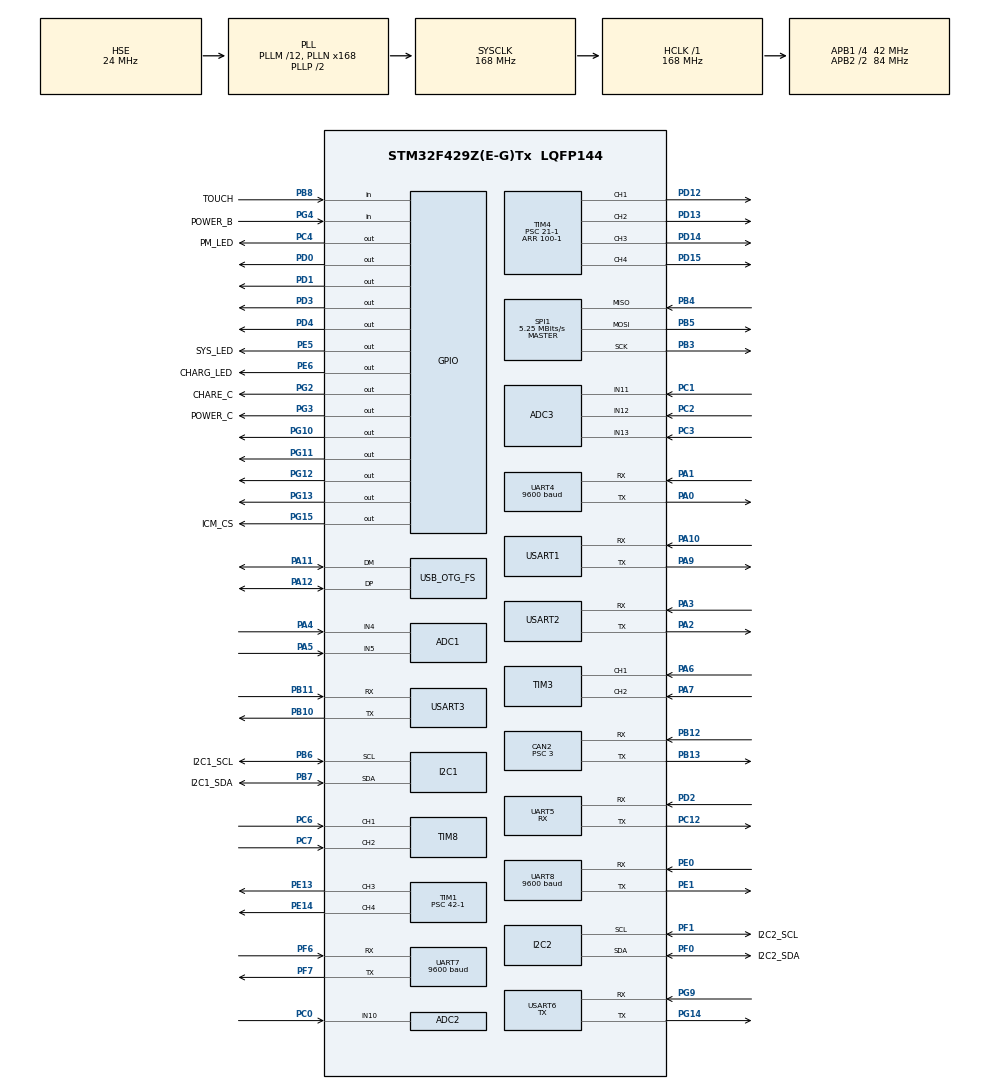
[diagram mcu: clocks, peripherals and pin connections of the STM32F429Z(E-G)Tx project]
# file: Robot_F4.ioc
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ADC1.Channel-3\#ChannelRegularConversion=ADC_CHANNEL_4
ADC1.Channel-4\#ChannelRegularConversion=ADC_CHANNEL_5
ADC1.ClockPrescaler=ADC_CLOCK_SYNC_PCLK_DIV4
ADC1.NbrOfConversion=2
ADC1.NbrOfConversionFlag=1
ADC1.Rank-3\#ChannelRegularConversion=1
ADC1.Rank-4\#ChannelRegularConversion=2
ADC1.SamplingTime-3\#ChannelRegularConversion=ADC_SAMPLETIME_480CYCLES
ADC1.SamplingTime-4\#ChannelRegularConversion=ADC_SAMPLETIME_480CYCLES
ADC1.master=1
ADC2.Channel-0\#ChannelRegularConversion=ADC_CHANNEL_10
ADC2.ClockPrescaler=ADC_CLOCK_SYNC_PCLK_DIV4
ADC2.NbrOfConversionFlag=1
ADC2.Rank-0\#ChannelRegularConversion=1
ADC2.SamplingTime-0\#ChannelRegularConversion=ADC_SAMPLETIME_480CYCLES
ADC3.Channel-0\#ChannelRegularConversion=ADC_CHANNEL_11
ADC3.Channel-1\#ChannelRegularConversion=ADC_CHANNEL_12
ADC3.Channel-2\#ChannelRegularConversion=ADC_CHANNEL_13
ADC3.ClockPrescaler=ADC_CLOCK_SYNC_PCLK_DIV4
ADC3.NbrOfConversion=3
ADC3.NbrOfConversionFlag=1
ADC3.Rank-0\#ChannelRegularConversion=1
ADC3.Rank-1\#ChannelRegularConversion=2
ADC3.Rank-2\#ChannelRegularConversion=3
ADC3.SamplingTime-0\#ChannelRegularConversion=ADC_SAMPLETIME_480CYCLES
ADC3.SamplingTime-1\#ChannelRegularConversion=ADC_SAMPLETIME_480CYCLES
ADC3.SamplingTime-2\#ChannelRegularConversion=ADC_SAMPLETIME_480CYCLES
CAN2.BS1=CAN_BS1_9TQ
CAN2.BS2=CAN_BS2_4TQ
CAN2.CalculateBaudRate=1000000
CAN2.CalculateTimeBit=1000
CAN2.CalculateTimeQuantum=71.42857142857143
CAN2.Prescaler=3
Dma.ADC1.0.Direction=DMA_PERIPH_TO_MEMORY
Dma.ADC1.0.FIFOMode=DMA_FIFOMODE_DISABLE
Dma.ADC1.0.Instance=DMA2_Stream0
Dma.ADC1.0.MemDataAlignment=DMA_MDATAALIGN_HALFWORD
Dma.ADC1.0.MemInc=DMA_MINC_ENABLE
Dma.ADC1.0.Mode=DMA_CIRCULAR
Dma.ADC1.0.PeriphDataAlignment=DMA_PDATAALIGN_HALFWORD
Dma.ADC1.0.PeriphInc=DMA_PINC_DISABLE
Dma.ADC1.0.Priority=DMA_PRIORITY_LOW
Dma.ADC2.8.Direction=DMA_PERIPH_TO_MEMORY
Dma.ADC2.8.FIFOMode=DMA_FIFOMODE_DISABLE
Dma.ADC2.8.Instance=DMA2_Stream2
Dma.ADC2.8.MemDataAlignment=DMA_MDATAALIGN_HALFWORD
Dma.ADC2.8.MemInc=DMA_MINC_ENABLE
Dma.ADC2.8.Mode=DMA_NORMAL
Dma.ADC2.8.PeriphDataAlignment=DMA_PDATAALIGN_HALFWORD
Dma.ADC2.8.PeriphInc=DMA_PINC_DISABLE
Dma.ADC2.8.Priority=DMA_PRIORITY_LOW
Dma.ADC3.9.Direction=DMA_PERIPH_TO_MEMORY
Dma.ADC3.9.FIFOMode=DMA_FIFOMODE_DISABLE
Dma.ADC3.9.Instance=DMA2_Stream1
Dma.ADC3.9.MemDataAlignment=DMA_MDATAALIGN_HALFWORD
Dma.ADC3.9.MemInc=DMA_MINC_ENABLE
Dma.ADC3.9.Mode=DMA_CIRCULAR
Dma.ADC3.9.PeriphDataAlignment=DMA_PDATAALIGN_HALFWORD
Dma.ADC3.9.PeriphInc=DMA_PINC_DISABLE
Dma.ADC3.9.Priority=DMA_PRIORITY_LOW
Dma.Request0=ADC1
Dma.Request1=UART4_RX
Dma.Request10=USART3_TX
Dma.Request11=USART1_RX
Dma.Request12=USART3_RX
Dma.Request2=UART7_RX
Dma.Request3=UART8_RX
Dma.Request4=USART2_RX
Dma.Request5=USART1_TX
Dma.Request6=USART6_TX
Dma.Request7=UART5_RX
Dma.Request8=ADC2
Dma.Request9=ADC3
Dma.UART4_RX.1.Direction=DMA_PERIPH_TO_MEMORY
Dma.UART4_RX.1.FIFOMode=DMA_FIFOMODE_DISABLE
Dma.UART4_RX.1.Instance=DMA1_Stream2
Dma.UART4_RX.1.MemDataAlignment=DMA_MDATAALIGN_BYTE
Dma.UART4_RX.1.MemInc=DMA_MINC_ENABLE
Dma.UART4_RX.1.Mode=DMA_NORMAL
Dma.UART4_RX.1.PeriphDataAlignment=DMA_PDATAALIGN_BYTE
Dma.UART4_RX.1.PeriphInc=DMA_PINC_DISABLE
Dma.UART4_RX.1.Priority=DMA_PRIORITY_LOW
Dma.UART5_RX.7.Direction=DMA_PERIPH_TO_MEMORY
Dma.UART5_RX.7.FIFOMode=DMA_FIFOMODE_DISABLE
Dma.UART5_RX.7.Instance=DMA1_Stream0
Dma.UART5_RX.7.MemDataAlignment=DMA_MDATAALIGN_BYTE
Dma.UART5_RX.7.MemInc=DMA_MINC_ENABLE
Dma.UART5_RX.7.Mode=DMA_NORMAL
Dma.UART5_RX.7.PeriphDataAlignment=DMA_PDATAALIGN_BYTE
Dma.UART5_RX.7.PeriphInc=DMA_PINC_DISABLE
Dma.UART5_RX.7.Priority=DMA_PRIORITY_LOW
Dma.UART7_RX.2.Direction=DMA_PERIPH_TO_MEMORY
Dma.UART7_RX.2.FIFOMode=DMA_FIFOMODE_DISABLE
Dma.UART7_RX.2.Instance=DMA1_Stream3
Dma.UART7_RX.2.MemDataAlignment=DMA_MDATAALIGN_BYTE
Dma.UART7_RX.2.MemInc=DMA_MINC_ENABLE
Dma.UART7_RX.2.Mode=DMA_NORMAL
Dma.UART7_RX.2.PeriphDataAlignment=DMA_PDATAALIGN_BYTE
Dma.UART7_RX.2.PeriphInc=DMA_PINC_DISABLE
Dma.UART7_RX.2.Priority=DMA_PRIORITY_LOW
Dma.UART8_RX.3.Direction=DMA_PERIPH_TO_MEMORY
Dma.UART8_RX.3.FIFOMode=DMA_FIFOMODE_DISABLE
Dma.UART8_RX.3.Instance=DMA1_Stream6
Dma.UART8_RX.3.MemDataAlignment=DMA_MDATAALIGN_BYTE
Dma.UART8_RX.3.MemInc=DMA_MINC_ENABLE
Dma.UART8_RX.3.Mode=DMA_NORMAL
Dma.UART8_RX.3.PeriphDataAlignment=DMA_PDATAALIGN_BYTE
Dma.UART8_RX.3.PeriphInc=DMA_PINC_DISABLE
Dma.UART8_RX.3.Priority=DMA_PRIORITY_LOW
Dma.USART1_RX.11.Direction=DMA_PERIPH_TO_MEMORY
Dma.USART1_RX.11.FIFOMode=DMA_FIFOMODE_DISABLE
Dma.USART1_RX.11.Instance=DMA2_Stream5
Dma.USART1_RX.11.MemDataAlignment=DMA_MDATAALIGN_BYTE
Dma.USART1_RX.11.MemInc=DMA_MINC_ENABLE
Dma.USART1_RX.11.Mode=DMA_NORMAL
Dma.USART1_RX.11.PeriphDataAlignment=DMA_PDATAALIGN_BYTE
Dma.USART1_RX.11.PeriphInc=DMA_PINC_DISABLE
Dma.USART1_RX.11.Priority=DMA_PRIORITY_LOW
Dma.USART1_TX.5.Direction=DMA_MEMORY_TO_PERIPH
Dma.USART1_TX.5.FIFOMode=DMA_FIFOMODE_DISABLE
Dma.USART1_TX.5.Instance=DMA2_Stream7
Dma.USART1_TX.5.MemDataAlignment=DMA_MDATAALIGN_BYTE
Dma.USART1_TX.5.MemInc=DMA_MINC_ENABLE
Dma.USART1_TX.5.Mode=DMA_NORMAL
Dma.USART1_TX.5.PeriphDataAlignment=DMA_PDATAALIGN_BYTE
Dma.USART1_TX.5.PeriphInc=DMA_PINC_DISABLE
Dma.USART1_TX.5.Priority=DMA_PRIORITY_LOW
Dma.USART2_RX.4.Direction=DMA_PERIPH_TO_MEMORY
Dma.USART2_RX.4.FIFOMode=DMA_FIFOMODE_DISABLE
Dma.USART2_RX.4.Instance=DMA1_Stream5
Dma.USART2_RX.4.MemDataAlignment=DMA_MDATAALIGN_BYTE
Dma.USART2_RX.4.MemInc=DMA_MINC_ENABLE
Dma.USART2_RX.4.Mode=DMA_NORMAL
Dma.USART2_RX.4.PeriphDataAlignment=DMA_PDATAALIGN_BYTE
Dma.USART2_RX.4.PeriphInc=DMA_PINC_DISABLE
Dma.USART2_RX.4.Priority=DMA_PRIORITY_LOW
Dma.USART3_RX.12.Direction=DMA_PERIPH_TO_MEMORY
Dma.USART3_RX.12.FIFOMode=DMA_FIFOMODE_DISABLE
Dma.USART3_RX.12.Instance=DMA1_Stream1
Dma.USART3_RX.12.MemDataAlignment=DMA_MDATAALIGN_BYTE
Dma.USART3_RX.12.MemInc=DMA_MINC_ENABLE
Dma.USART3_RX.12.Mode=DMA_NORMAL
Dma.USART3_RX.12.PeriphDataAlignment=DMA_PDATAALIGN_BYTE
Dma.USART3_RX.12.PeriphInc=DMA_PINC_DISABLE
Dma.USART3_RX.12.Priority=DMA_PRIORITY_LOW
Dma.USART3_TX.10.Direction=DMA_MEMORY_TO_PERIPH
Dma.USART3_TX.10.FIFOMode=DMA_FIFOMODE_DISABLE
Dma.USART3_TX.10.Instance=DMA1_Stream4
Dma.USART3_TX.10.MemDataAlignment=DMA_MDATAALIGN_BYTE
Dma.USART3_TX.10.MemInc=DMA_MINC_ENABLE
Dma.USART3_TX.10.Mode=DMA_NORMAL
Dma.USART3_TX.10.PeriphDataAlignment=DMA_PDATAALIGN_BYTE
Dma.USART3_TX.10.PeriphInc=DMA_PINC_DISABLE
Dma.USART3_TX.10.Priority=DMA_PRIORITY_LOW
Dma.USART6_TX.6.Direction=DMA_MEMORY_TO_PERIPH
Dma.USART6_TX.6.FIFOMode=DMA_FIFOMODE_DISABLE
Dma.USART6_TX.6.Instance=DMA2_Stream6
Dma.USART6_TX.6.MemDataAlignment=DMA_MDATAALIGN_BYTE
Dma.USART6_TX.6.MemInc=DMA_MINC_ENABLE
Dma.USART6_TX.6.Mode=DMA_NORMAL
Dma.USART6_TX.6.PeriphDataAlignment=DMA_PDATAALIGN_BYTE
Dma.USART6_TX.6.PeriphInc=DMA_PINC_DISABLE
Dma.USART6_TX.6.Priority=DMA_PRIORITY_LOW
Mcu.Family=STM32F4
Mcu.Name=STM32F429Z(E-G)Tx
Mcu.Package=LQFP144
NVIC.CAN2_RX0_IRQn=true\:0\:0\:false\:false\:true\:true\:true\:true
NVIC.DMA1_Stream0_IRQn=true\:0\:0\:false\:false\:true\:false\:true\:true
NVIC.DMA1_Stream1_IRQn=true\:0\:0\:false\:false\:true\:false\:true\:true
NVIC.DMA1_Stream2_IRQn=true\:0\:0\:false\:false\:true\:false\:true\:true
NVIC.DMA1_Stream3_IRQn=true\:0\:0\:false\:false\:true\:false\:true\:true
NVIC.DMA1_Stream4_IRQn=true\:0\:0\:false\:false\:true\:false\:true\:true
NVIC.DMA1_Stream5_IRQn=true\:0\:0\:false\:false\:true\:false\:true\:true
NVIC.DMA1_Stream6_IRQn=true\:0\:0\:false\:false\:true\:false\:true\:true
NVIC.DMA2_Stream0_IRQn=true\:0\:0\:false\:false\:true\:false\:true\:true
NVIC.DMA2_Stream1_IRQn=true\:0\:0\:false\:false\:true\:false\:true\:true
NVIC.DMA2_Stream2_IRQn=true\:0\:0\:false\:false\:true\:false\:true\:true
NVIC.DMA2_Stream5_IRQn=true\:0\:0\:false\:false\:true\:false\:true\:true
NVIC.DMA2_Stream6_IRQn=true\:0\:0\:false\:false\:true\:false\:true\:true
NVIC.DMA2_Stream7_IRQn=true\:0\:0\:false\:false\:true\:false\:true\:true
NVIC.OTG_FS_IRQn=true\:0\:0\:false\:false\:true\:false\:true\:true
NVIC.PriorityGroup=NVIC_PRIORITYGROUP_4
NVIC.TIM2_IRQn=true\:0\:0\:false\:false\:true\:true\:true\:true
NVIC.TIM8_TRG_COM_TIM14_IRQn=true\:0\:0\:false\:false\:true\:true\:true\:true
NVIC.UART4_IRQn=true\:0\:0\:false\:false\:true\:true\:true\:true
NVIC.UART5_IRQn=true\:0\:0\:false\:false\:true\:true\:true\:true
NVIC.UART7_IRQn=true\:0\:0\:false\:false\:true\:true\:true\:true
NVIC.UART8_IRQn=true\:0\:0\:false\:false\:true\:true\:true\:true
NVIC.USART1_IRQn=true\:0\:0\:false\:false\:true\:true\:true\:true
NVIC.USART2_IRQn=true\:0\:0\:false\:false\:true\:true\:true\:true
NVIC.USART3_IRQn=true\:0\:0\:false\:false\:true\:true\:true\:true
NVIC.USART6_IRQn=true\:0\:0\:false\:false\:true\:true\:true\:true
PA0/WKUP.Mode=Asynchronous
PA0/WKUP.Signal=UART4_TX
PA1.Mode=Asynchronous
PA1.Signal=UART4_RX
PA10.Mode=Asynchronous
PA10.Signal=USART1_RX
PA11.Mode=Device_Only
PA11.Signal=USB_OTG_FS_DM
PA12.Mode=Device_Only
PA12.Signal=USB_OTG_FS_DP
PA13.Mode=Serial_Wire
PA13.Signal=SYS_JTMS-SWDIO
PA14.Mode=Serial_Wire
PA14.Signal=SYS_JTCK-SWCLK
PA2.Mode=Asynchronous
PA2.Signal=USART2_TX
PA3.Mode=Asynchronous
PA3.Signal=USART2_RX
PA4.Signal=ADCx_IN4
PA5.Signal=ADCx_IN5
PA6.Signal=S_TIM3_CH1
PA7.Signal=S_TIM3_CH2
PA9.Mode=Asynchronous
PA9.Signal=USART1_TX
PB10.Mode=Asynchronous
PB10.Signal=USART3_TX
PB11.Mode=Asynchronous
PB11.Signal=USART3_RX
PB12.Mode=CAN_Activate
PB12.Signal=CAN2_RX
PB13.Mode=CAN_Activate
PB13.Signal=CAN2_TX
PB3.Mode=Full_Duplex_Master
PB3.Signal=SPI1_SCK
PB4.Mode=Full_Duplex_Master
PB4.Signal=SPI1_MISO
PB5.Mode=Full_Duplex_Master
PB5.Signal=SPI1_MOSI
PB6.GPIO_Label=I2C1_SCL
PB6.GPIO_Pu=GPIO_NOPULL
PB6.Mode=I2C
PB6.Signal=I2C1_SCL
PB7.GPIO_Label=I2C1_SDA
PB7.GPIO_Pu=GPIO_NOPULL
PB7.Mode=I2C
PB7.Signal=I2C1_SDA
PB8.GPIO_Label=TOUCH
PB8.GPIO_PuPd=GPIO_PULLUP
PB8.Signal=GPIO_Input
PC0.Signal=ADCx_IN10
PC1.Signal=ADCx_IN11
PC12.Mode=Asynchronous
PC12.Signal=UART5_TX
PC2.Signal=ADCx_IN12
PC3.Signal=ADCx_IN13
PC4.GPIO_Label=PM_LED
PC4.GPIO_PuPd=GPIO_PULLUP
PC4.Signal=GPIO_Output
PC6.Signal=S_TIM8_CH1
PC7.Signal=S_TIM8_CH2
PD0.Signal=GPIO_Output
PD1.Signal=GPIO_Output
PD12.Signal=S_TIM4_CH1
PD13.Signal=S_TIM4_CH2
PD14.Signal=S_TIM4_CH3
PD15.Signal=S_TIM4_CH4
PD2.Mode=Asynchronous
PD2.Signal=UART5_RX
PD3.Signal=GPIO_Output
PD4.Signal=GPIO_Output
PE0.Mode=Asynchronous
PE0.Signal=UART8_RX
PE1.Mode=Asynchronous
PE1.Signal=UART8_TX
PE13.Signal=S_TIM1_CH3
PE14.Signal=S_TIM1_CH4
PE5.GPIO_Label=SYS_LED
PE5.GPIO_PuPd=GPIO_PULLUP
PE5.Signal=GPIO_Output
PE6.GPIO_Label=CHARG_LED
PE6.GPIO_PuPd=GPIO_PULLUP
PE6.Signal=GPIO_Output
PF0.GPIO_Label=I2C2_SDA
PF0.GPIO_Pu=GPIO_PULLUP
PF0.Mode=I2C
PF0.Signal=I2C2_SDA
PF1.GPIO_Label=I2C2_SCL
PF1.GPIO_Pu=GPIO_PULLUP
PF1.Mode=I2C
PF1.Signal=I2C2_SCL
PF6.Mode=Asynchronous
PF6.Signal=UART7_RX
PF7.Mode=Asynchronous
PF7.Signal=UART7_TX
PG10.Signal=GPIO_Output
PG11.Signal=GPIO_Output
PG12.Signal=GPIO_Output
PG13.Signal=GPIO_Output
PG14.Mode=Asynchronous
PG14.Signal=USART6_TX
PG15.GPIO_Label=ICM_CS
PG15.GPIO_PuPd=GPIO_PULLUP
PG15.Signal=GPIO_Output
PG2.GPIO_Label=CHARE_C
PG2.GPIO_PuPd=GPIO_PULLUP
PG2.Signal=GPIO_Output
PG3.GPIO_Label=POWER_C
PG3.GPIO_PuPd=GPIO_PULLUP
PG3.Signal=GPIO_Output
PG4.GPIO_Label=POWER_B
PG4.GPIO_PuPd=GPIO_PULLUP
PG4.Signal=GPIO_Input
PG9.Mode=Asynchronous
PG9.Signal=USART6_RX
PH0/OSC_IN.Mode=HSE-External-Oscillator
PH0/OSC_IN.Signal=RCC_OSC_IN
PH1/OSC_OUT.Mode=HSE-External-Oscillator
PH1/OSC_OUT.Signal=RCC_OSC_OUT
ProjectManager.HeapSize=0x200
ProjectManager.StackSize=0x400
ProjectManager.TargetToolchain=MDK-ARM V5.27
RCC.48MHZClocksFreq_Value=48000000
RCC.AHBFreq_Value=168000000
RCC.APB1CLKDivider=RCC_HCLK_DIV4
RCC.APB1Freq_Value=42000000
RCC.APB1TimFreq_Value=84000000
RCC.APB2CLKDivider=RCC_HCLK_DIV2
RCC.APB2Freq_Value=84000000
RCC.APB2TimFreq_Value=168000000
RCC.CortexFreq_Value=168000000
RCC.HCLKFreq_Value=168000000
RCC.HSE_VALUE=24000000
RCC.HSI_VALUE=16000000
RCC.LSE_VALUE=32768
RCC.PLLM=12
RCC.PLLN=168
RCC.PLLQ=7
RCC.SYSCLKFreq_VALUE=168000000
RCC.SYSCLKSource=RCC_SYSCLKSOURCE_PLLCLK
RCC.VCOOutputFreq_Value=336000000
SH.ADCx_IN10.0=ADC2_IN10,IN10
SH.ADCx_IN11.0=ADC3_IN11,IN11
SH.ADCx_IN12.0=ADC3_IN12,IN12
SH.ADCx_IN13.0=ADC3_IN13,IN13
SH.ADCx_IN4.0=ADC1_IN4,IN4
SH.ADCx_IN5.0=ADC1_IN5,IN5
SH.S_TIM1_CH3.0=TIM1_CH3,PWM Generation3 CH3
SH.S_TIM1_CH4.0=TIM1_CH4,PWM Generation4 CH4
SH.S_TIM3_CH1.0=TIM3_CH1,Encoder_Interface
SH.S_TIM3_CH2.0=TIM3_CH2,Encoder_Interface
SH.S_TIM4_CH1.0=TIM4_CH1,PWM Generation1 CH1
SH.S_TIM4_CH2.0=TIM4_CH2,PWM Generation2 CH2
SH.S_TIM4_CH3.0=TIM4_CH3,PWM Generation3 CH3
SH.S_TIM4_CH4.0=TIM4_CH4,PWM Generation4 CH4
SH.S_TIM8_CH1.0=TIM8_CH1,Encoder_Interface
SH.S_TIM8_CH2.0=TIM8_CH2,Encoder_Interface
SPI1.BaudRatePrescaler=SPI_BAUDRATEPRESCALER_16
SPI1.CalculateBaudRate=5.25 MBits/s
SPI1.Direction=SPI_DIRECTION_2LINES
SPI1.Mode=SPI_MODE_MASTER
SPI1.VirtualType=VM_MASTER
TIM1.Channel-PWM\ Generation3\ CH3=TIM_CHANNEL_3
TIM1.Channel-PWM\ Generation4\ CH4=TIM_CHANNEL_4
TIM1.Period=100-1
TIM1.Prescaler=42-1
TIM14.AutoReloadPreload=TIM_AUTORELOAD_PRELOAD_ENABLE
TIM14.Period=1000-1
TIM14.Prescaler=84-1
TIM2.Period=350
TIM2.Prescaler=168-1
TIM3.EncoderMode=TIM_ENCODERMODE_TI12
TIM4.Channel-PWM\ Generation1\ CH1=TIM_CHANNEL_1
TIM4.Channel-PWM\ Generation2\ CH2=TIM_CHANNEL_2
TIM4.Channel-PWM\ Generation3\ CH3=TIM_CHANNEL_3
TIM4.Channel-PWM\ Generation4\ CH4=TIM_CHANNEL_4
TIM4.Period=100-1
TIM4.Prescaler=21-1
TIM8.EncoderMode=TIM_ENCODERMODE_TI12
TIM9.Period=20000-1
TIM9.Prescaler=168-1
UART4.BaudRate=9600
UART4.VirtualMode=Asynchronous
UART5.Mode=MODE_RX
UART5.VirtualMode=Asynchronous
UART7.BaudRate=9600
UART7.VirtualMode=Asynchronous
UART8.BaudRate=9600
UART8.VirtualMode=Asynchronous
USART1.VirtualMode=VM_ASYNC
USART2.VirtualMode=VM_ASYNC
USART3.VirtualMode=VM_ASYNC
USART6.Mode=MODE_TX
USART6.VirtualMode=VM_ASYNC
USB_DEVICE.CLASS_NAME_FS=CDC
USB_DEVICE.VirtualMode-CDC_FS=Cdc
USB_DEVICE.VirtualModeFS=Cdc_FS
USB_OTG_FS.VirtualMode=Device_Only
VP_TIM14_VS_ClockSourceINT.Mode=Enable_Timer
VP_TIM1_VS_ClockSourceINT.Mode=Internal
VP_TIM2_VS_ClockSourceINT.Mode=Internal
VP_TIM4_VS_ClockSourceINT.Mode=Internal
VP_TIM9_VS_ClockSourceINT.Mode=Internal
VP_USB_DEVICE_VS_USB_DEVICE_CDC_FS.Mode=CDC_FS
board=custom

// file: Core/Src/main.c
/* USER CODE BEGIN Header */
/**
  ******************************************************************************
  * @file           : main.c
  * @brief          : Main program body
  ******************************************************************************
  * @attention
  *
  * Copyright (c) 2023 STMicroelectronics.
  * All rights reserved.
  *
  * This software is licensed under terms that can be found in the LICENSE file
  * in the root directory of this software component.
  * If no LICENSE file comes with this software, it is provided AS-IS.
  *
  ******************************************************************************
  */
/* USER CODE END Header */
#include "main.h"
#include "adc.h"
#include "can.h"
#include "dma.h"
#include "i2c.h"
#include "spi.h"
#include "tim.h"
#include "usart.h"
#include "usb_device.h"
#include "gpio.h"

/* USER CODE BEGIN Includes */
#include <stdio.h>
#include <stdarg.h>
#include "usbd_cdc_if.h"
#include "BSP_CAN.h"
#include "Scheduler.h"
#include "ProgramData.h"
#include "IMU_Dev.h"
#include "PID.h"
#include "SGP30.h"
#include "Power.h"
#include "DYPA02.h"
#include "VL53L0.h"
#include "Motor.h"
#include "Chassis.h"
#include "RC.h"
#include "ano_dt.h"
#include "YuTu.h"
#include "MahonyAHRS.h"
#include "Soft_I2C.h"
/* USER CODE END Includes */

void SystemClock_Config(void);
/* USER CODE BEGIN PFP */

void LOG(const char *fmt,...)
{
	static uint8_t tx_buf[255];
  va_list ap;
  uint16_t len;

  va_start(ap, fmt);
  len = vsprintf((char *)tx_buf, fmt, ap);
  va_end(ap);
	CDC_Transmit_FS(tx_buf, len);
}

/* USER CODE END PFP */

int main(void)
{

  /* MCU Configuration--------------------------------------------------------*/

  /* Reset of all peripherals, Initializes the Flash interface and the Systick. */
  HAL_Init();

  /* Configure the system clock */
  SystemClock_Config();

  /* Initialize all configured peripherals */
  MX_GPIO_Init();
  MX_DMA_Init();
  MX_ADC1_Init();
  MX_CAN2_Init();
  MX_I2C1_Init();
  MX_SPI1_Init();
  MX_TIM1_Init();
  MX_TIM3_Init();
  MX_TIM4_Init();
  MX_TIM8_Init();
  MX_UART4_Init();
  MX_UART7_Init();
  MX_UART8_Init();
  MX_USART1_UART_Init();
  MX_USART2_UART_Init();
  MX_USART3_UART_Init();
  MX_USART6_UART_Init();
  MX_USB_DEVICE_Init();
  MX_UART5_Init();
  MX_TIM2_Init();
  MX_TIM14_Init();
  MX_ADC2_Init();
  MX_ADC3_Init();
  MX_TIM9_Init();
  MX_I2C2_Init();
  /* USER CODE BEGIN 2 */
	HAL_GPIO_WritePin(POWER_C_GPIO_Port,POWER_C_Pin,GPIO_PIN_SET);	//按键松开后保持电源打开状态
	VL53L0_Init();
	DYPA02_Init();
	CAN_Filter_Init();
	HAL_Delay(1000);
	Program_Data_Init();
	BAT_Init();
	PID_Init();
	IMU_Init();
	Soft_I2C_Init();
	SGP30_Init();
	Motor_Init();
	Chassis_Init();
	RC_Init();
	ANO_Init();
	YuTu_DT_Init();
	MahonyAHRSInit(&quaternion, HAL_GetTick());							//初始化姿态解析
  /* USER CODE END 2 */

  /* Infinite loop */
  /* USER CODE BEGIN WHILE */
	Scheduler_Setup();
  while (1)
  {
		Scheduler_Run();
    /* USER CODE END WHILE */

  }
}

void SystemClock_Config(void)
{
  RCC_OscInitTypeDef RCC_OscInitStruct = {0};
  RCC_ClkInitTypeDef RCC_ClkInitStruct = {0};

  /** Configure the main internal regulator output voltage
  */
  __HAL_RCC_PWR_CLK_ENABLE();
  __HAL_PWR_VOLTAGESCALING_CONFIG(PWR_REGULATOR_VOLTAGE_SCALE1);

  /** Initializes the RCC Oscillators according to the specified parameters
  * in the RCC_OscInitTypeDef structure.
  */
  RCC_OscInitStruct.OscillatorType = RCC_OSCILLATORTYPE_HSE;
  RCC_OscInitStruct.HSEState = RCC_HSE_ON;
  RCC_OscInitStruct.PLL.PLLState = RCC_PLL_ON;
  RCC_OscInitStruct.PLL.PLLSource = RCC_PLLSOURCE_HSE;
  RCC_OscInitStruct.PLL.PLLM = 12;
  RCC_OscInitStruct.PLL.PLLN = 168;
  RCC_OscInitStruct.PLL.PLLP = RCC_PLLP_DIV2;
  RCC_OscInitStruct.PLL.PLLQ = 7;
  if (HAL_RCC_OscConfig(&RCC_OscInitStruct) != HAL_OK)
  {
    Error_Handler();
  }

  /** Initializes the CPU, AHB and APB buses clocks
  */
  RCC_ClkInitStruct.ClockType = RCC_CLOCKTYPE_HCLK|RCC_CLOCKTYPE_SYSCLK
                              |RCC_CLOCKTYPE_PCLK1|RCC_CLOCKTYPE_PCLK2;
  RCC_ClkInitStruct.SYSCLKSource = RCC_SYSCLKSOURCE_PLLCLK;
  RCC_ClkInitStruct.AHBCLKDivider = RCC_SYSCLK_DIV1;
  RCC_ClkInitStruct.APB1CLKDivider = RCC_HCLK_DIV4;
  RCC_ClkInitStruct.APB2CLKDivider = RCC_HCLK_DIV2;

  if (HAL_RCC_ClockConfig(&RCC_ClkInitStruct, FLASH_LATENCY_5) != HAL_OK)
  {
    Error_Handler();
  }
}

void Error_Handler(void)
{
  __disable_irq();
  while (1)
  {
  }
}
